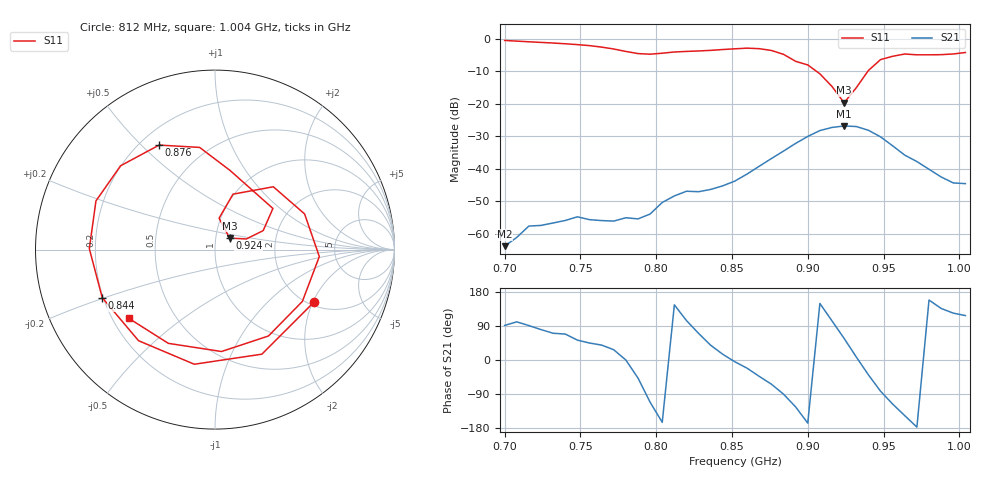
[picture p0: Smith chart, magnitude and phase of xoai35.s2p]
# Hz S RI R 50
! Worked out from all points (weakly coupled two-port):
!   39 points, 700 MHz to 1.004 GHz, reference 50 ohm
!   highest |S21| = -26.82 dB at 924 MHz (marker M1); lowest = -63.8 dB at 700 MHz (marker M2)
!   lowest |S11| = -19.7 dB at 924 MHz (marker M3), VSWR 1.23, Z = 58.3 + j7.57 ohm
!   |S11| at or under -10 dB: 905.7 MHz to 939.6 MHz (33.95 MHz wide, 3.68 % of centre)
!   S12 and S22 are empty: the file has one direction only
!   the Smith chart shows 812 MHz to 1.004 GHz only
!   S11 on the Smith chart (normalised r, x): 812 MHz: 2.15, -2.05; 844 MHz: 0.20, -0.20; 876 MHz: 0.27, +0.57; 924 MHz: 1.17, +0.15; 1.004 GHz: 0.27, -0.33
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7e8  0.762 0.5522  -1.37e-05 0.000646  0 0  0 0
7.24e8  0.8417 -0.2494  0.000228 0.00133  0 0  0 0
7.4e8  0.4541 -0.7026  0.00059 0.00149  0 0  0 0
7.56e8  -0.1961 -0.7591  0.00117 0.00116  0 0  0 0
7.72e8  -0.6686 -0.1919  0.0014 0.000714  0 0  0 0
7.8e8  -0.5923 0.2368  0.00177 -1.99e-06  0 0  0 0
7.88e8  -0.238 0.5412  0.00114 -0.00126  0 0  0 0
7.96e8  0.2502 0.5217  -0.000738 -0.00188  0 0  0 0
8.04e8  0.5762 0.1646  -0.00293 -0.000818  0 0  0 0
8.12e8  0.5537 -0.2904  -0.00316 0.00217  0 0  0 0
8.28e8  -0.1153 -0.6387  0.00151 0.00418  0 0  0 0
8.44e8  -0.6282 -0.2681  0.0053 0.00141  0 0  0 0
8.52e8  -0.7002 0.00514  0.00647 -0.000556  0 0  0 0
8.76e8  -0.3113 0.5823  0.00635 -0.0129  0 0  0 0
9e8  0.3227 0.2293  -0.0306 -0.00732  0 0  0 0
9.08e8  0.2686 0.1061  -0.0333 0.0198  0 0  0 0
9.24e8  0.0814 0.0642  0.0249 0.0382  0 0  0 0
9.4e8  0.1005 0.3089  0.0304 -0.0247  0 0  0 0
9.56e8  0.4991 0.1988  -0.00999 -0.0202  0 0  0 0
9.64e8  0.5813 -0.0386  -0.0136 -0.00887  0 0  0 0
9.8e8  0.2977 -0.4814  -0.00914 0.00364  0 0  0 0
1.004e9  -0.4798 -0.3832  -0.00271 0.00526  0 0  0 0
